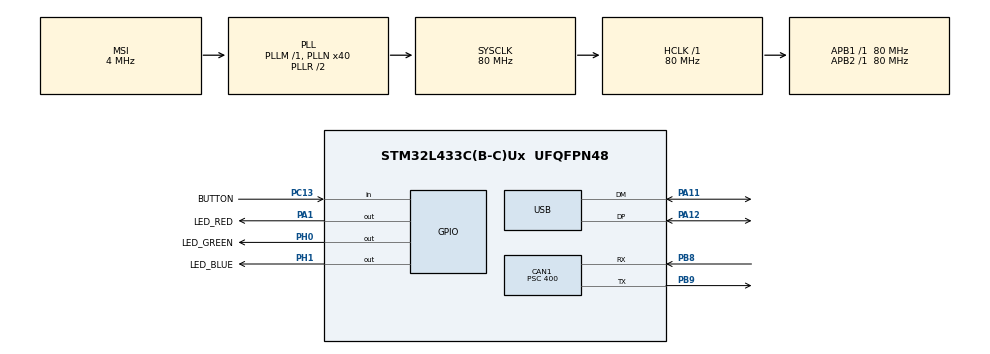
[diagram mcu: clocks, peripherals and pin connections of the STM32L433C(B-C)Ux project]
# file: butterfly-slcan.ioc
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CAN1.BS1=CAN_BS1_14TQ
CAN1.BS2=CAN_BS2_5TQ
CAN1.CalculateTimeQuantum=5000.0
CAN1.Prescaler=400
Mcu.Family=STM32L4
Mcu.Name=STM32L433C(B-C)Ux
Mcu.Package=UFQFPN48
NVIC.CAN1_RX0_IRQn=true\:0\:0\:false\:false\:true\:true\:true
NVIC.PriorityGroup=NVIC_PRIORITYGROUP_4
NVIC.USB_IRQn=true\:0\:0\:false\:false\:true\:false\:true
PA1.GPIO_Label=LED_RED
PA1.PinState=GPIO_PIN_SET
PA1.Signal=GPIO_Output
PA11.Mode=Device
PA11.Signal=USB_DM
PA12.Mode=Device
PA12.Signal=USB_DP
PA13\ (JTMS-SWDIO).Mode=Serial_Wire
PA13\ (JTMS-SWDIO).Signal=SYS_JTMS-SWDIO
PA14\ (JTCK-SWCLK).Mode=Serial_Wire
PA14\ (JTCK-SWCLK).Signal=SYS_JTCK-SWCLK
PB8.Mode=Master
PB8.Signal=CAN1_RX
PB9.Mode=Master
PB9.Signal=CAN1_TX
PC13.GPIO_Label=BUTTON
PC13.Signal=GPIO_Input
PC14-OSC32_IN\ (PC14).Mode=LSE-External-Oscillator
PC14-OSC32_IN\ (PC14).Signal=RCC_OSC32_IN
PC15-OSC32_OUT\ (PC15).Mode=LSE-External-Oscillator
PC15-OSC32_OUT\ (PC15).Signal=RCC_OSC32_OUT
PH0-OSC_IN\ (PH0).GPIO_Label=LED_GREEN
PH0-OSC_IN\ (PH0).PinState=GPIO_PIN_SET
PH0-OSC_IN\ (PH0).Signal=GPIO_Output
PH1-OSC_OUT\ (PH1).GPIO_Label=LED_BLUE
PH1-OSC_OUT\ (PH1).PinState=GPIO_PIN_SET
PH1-OSC_OUT\ (PH1).Signal=GPIO_Output
ProjectManager.HeapSize=0x200
ProjectManager.StackSize=0x400
ProjectManager.TargetToolchain=TrueSTUDIO
RCC.ADCFreq_Value=48000000
RCC.AHBFreq_Value=80000000
RCC.APB1Freq_Value=80000000
RCC.APB1TimFreq_Value=80000000
RCC.APB2Freq_Value=80000000
RCC.APB2TimFreq_Value=80000000
RCC.CortexFreq_Value=80000000
RCC.HCLKFreq_Value=80000000
RCC.HSE_VALUE=8000000
RCC.HSI48_VALUE=48000000
RCC.HSI_VALUE=16000000
RCC.MSIAutoCalibration=ENABLED
RCC.MSI_VALUE=4000000
RCC.PLLN=40
RCC.PLLSAI1N=24
RCC.RTCClockSelection=RCC_RTCCLKSOURCE_LSE
RCC.SYSCLKFreq_VALUE=80000000
RCC.SYSCLKSource=RCC_SYSCLKSOURCE_PLLCLK
RCC.USBFreq_Value=48000000
RCC.VCOOutputFreq_Value=160000000
USB_DEVICE.CLASS_NAME_FS=CDC
USB_DEVICE.VirtualMode=Cdc
USB_DEVICE.VirtualModeFS=Cdc_FS
VP_RCC_LSE.Mode=CRS SYNC Source LSE
VP_RTC_VS_RTC_Activate.Mode=RTC_Enabled
VP_USB_DEVICE_VS_USB_DEVICE_CDC_FS.Mode=CDC_FS
board=custom

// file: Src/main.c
/* USER CODE BEGIN Header */
/**
  ******************************************************************************
  * @file           : main.c
  * @brief          : Main program body
  ******************************************************************************
  * This notice applies to any and all portions of this file
  * that are not between comment pairs USER CODE BEGIN and
  * USER CODE END. Other portions of this file, whether
  * inserted by the user or by software development tools
  * are owned by their respective copyright owners.
  *
  * Copyright (c) 2019 STMicroelectronics International N.V.
  * All rights reserved.
  *
  * Redistribution and use in source and binary forms, with or without
  * modification, are permitted, provided that the following conditions are met:
  *
  * 1. Redistribution of source code must retain the above copyright notice,
  *    this list of conditions and the following disclaimer.
  * 2. Redistributions in binary form must reproduce the above copyright notice,
  *    this list of conditions and the following disclaimer in the documentation
  *    and/or other materials provided with the distribution.
  * 3. Neither the name of STMicroelectronics nor the names of other
  *    contributors to this software may be used to endorse or promote products
  *    derived from this software without specific written permission.
  * 4. This software, including modifications and/or derivative works of this
  *    software, must execute solely and exclusively on microcontroller or
  *    microprocessor devices manufactured by or for STMicroelectronics.
  * 5. Redistribution and use of this software other than as permitted under
  *    this license is void and will automatically terminate your rights under
  *    this license.
  *
  * THIS SOFTWARE IS PROVIDED BY STMICROELECTRONICS AND CONTRIBUTORS "AS IS"
  * AND ANY EXPRESS, IMPLIED OR STATUTORY WARRANTIES, INCLUDING, BUT NOT
  * LIMITED TO, THE IMPLIED WARRANTIES OF MERCHANTABILITY, FITNESS FOR A
  * PARTICULAR PURPOSE AND NON-INFRINGEMENT OF THIRD PARTY INTELLECTUAL PROPERTY
  * RIGHTS ARE DISCLAIMED TO THE FULLEST EXTENT PERMITTED BY LAW. IN NO EVENT
  * SHALL STMICROELECTRONICS OR CONTRIBUTORS BE LIABLE FOR ANY DIRECT, INDIRECT,
  * INCIDENTAL, SPECIAL, EXEMPLARY, OR CONSEQUENTIAL DAMAGES (INCLUDING, BUT NOT
  * LIMITED TO, PROCUREMENT OF SUBSTITUTE GOODS OR SERVICES; LOSS OF USE, DATA,
  * OR PROFITS; OR BUSINESS INTERRUPTION) HOWEVER CAUSED AND ON ANY THEORY OF
  * LIABILITY, WHETHER IN CONTRACT, STRICT LIABILITY, OR TORT (INCLUDING
  * NEGLIGENCE OR OTHERWISE) ARISING IN ANY WAY OUT OF THE USE OF THIS SOFTWARE,
  * EVEN IF ADVISED OF THE POSSIBILITY OF SUCH DAMAGE.
  *
  ******************************************************************************
  */
/* USER CODE END Header */

#include "main.h"
#include "usb_device.h"

/* USER CODE BEGIN Includes */
#include <stdbool.h>
#include "can_fifo.h"
#include "usbd_cdc_if.h"
/* USER CODE END Includes */

/* USER CODE BEGIN PD */
#define USB_RX_BUFFER 32
#define USB_TX_BUFFER 32

#define VERSION_RESPONSE "V06\r"
#define RESET_RESPONSE "Q\r"
#define OK_RESPONSE "Z\r"
#define BELL_RESPONSE "\a\r"
#define UART_EOL_TERMINATOR '\r'
/* USER CODE END PD */

CAN_HandleTypeDef hcan1;

RTC_HandleTypeDef hrtc;

/* USER CODE BEGIN PV */
CAN_FilterTypeDef sFilterConfig;
CAN_TxHeaderTypeDef TxHeader;
CAN_RxHeaderTypeDef RxHeader;
uint8_t TxData[8];
uint8_t RxData[8];
uint32_t TxMailbox;
st_can_message_fifo_t rxCanFifo;

// USB interface variable declarations
char aTxBuffer[USB_TX_BUFFER];
char aRxBuffer[1];
char aRxCmdBuffer[USB_RX_BUFFER];
uint8_t RxIndex = 0;
__IO ITStatus newCommand = RESET;
__IO ITStatus issueBellResponse = RESET;

/* USER CODE END PV */

void SystemClock_Config(void);
static void MX_GPIO_Init(void);
static void MX_CAN1_Init(void);
static void MX_RTC_Init(void);

/* USER CODE BEGIN PFP */
void process_incoming_usb(char* msgBuffer);
void process_incoming_can_message(void);

/* USER CODE END PFP */

int main(void)
{

  /* MCU Configuration--------------------------------------------------------*/

  /* Reset of all peripherals, Initializes the Flash interface and the Systick. */
  HAL_Init();

  /* Configure the system clock */
  SystemClock_Config();

  /* Initialize all configured peripherals */
  MX_GPIO_Init();
  MX_CAN1_Init();
  MX_RTC_Init();
  MX_USB_DEVICE_Init();
  /* USER CODE BEGIN 2 */

  // Specify filter to accept all messages
  sFilterConfig.FilterBank = 0;
  sFilterConfig.FilterMode = CAN_FILTERMODE_IDMASK;
  sFilterConfig.FilterScale = CAN_FILTERSCALE_32BIT;
  sFilterConfig.FilterIdHigh = 0x0000;
  sFilterConfig.FilterIdLow = 0x0000;
  sFilterConfig.FilterMaskIdHigh = 0x0000;
  sFilterConfig.FilterMaskIdLow = 0x0000;
  sFilterConfig.FilterFIFOAssignment = 0;
  sFilterConfig.FilterActivation = ENABLE;
  //sFilterConfig.BankNumber = 0;

  if (HAL_CAN_ConfigFilter(&hcan1, &sFilterConfig) != HAL_OK)
  {
	  Error_Handler();
  }

  if (HAL_CAN_Start(&hcan1) != HAL_OK)
  {
	  Error_Handler();
  }

  if (HAL_CAN_ActivateNotification(&hcan1, CAN_IT_RX_FIFO0_MSG_PENDING) != HAL_OK)
  {
	  Error_Handler();
  }

  /* USER CODE END 2 */

  /* Infinite loop */
  while (1)
  {

    /* USER CODE BEGIN 3 */
	  if(!can_fifo_empty(&rxCanFifo))
	  {
		  HAL_GPIO_WritePin(LED_GREEN_GPIO_Port, LED_GREEN_Pin, GPIO_PIN_RESET);
		  process_incoming_can_message();
		  //HAL_GPIO_TogglePin(LED_GREEN_GPIO_Port, LED_GREEN_Pin);
		  HAL_GPIO_WritePin(LED_GREEN_GPIO_Port, LED_GREEN_Pin, GPIO_PIN_SET);
	  }

	  if (newCommand == SET)
	  {
		  HAL_GPIO_WritePin(LED_BLUE_GPIO_Port, LED_BLUE_Pin, GPIO_PIN_RESET);
		  process_incoming_usb(aRxCmdBuffer);
		  HAL_GPIO_WritePin(LED_BLUE_GPIO_Port, LED_BLUE_Pin, GPIO_PIN_SET);
	  }

	  if (issueBellResponse == SET)
	  {
		  sprintf(aTxBuffer,BELL_RESPONSE);
		  CDC_Transmit_FS((uint8_t *)aTxBuffer, strlen(aTxBuffer));
		  issueBellResponse = RESET;
	  }

  }
  /* USER CODE END 3 */
}

void SystemClock_Config(void)
{
  RCC_OscInitTypeDef RCC_OscInitStruct = {0};
  RCC_ClkInitTypeDef RCC_ClkInitStruct = {0};
  RCC_PeriphCLKInitTypeDef PeriphClkInit = {0};
  RCC_CRSInitTypeDef RCC_CRSInitStruct = {0};

  /**Configure LSE Drive Capability
  */
  HAL_PWR_EnableBkUpAccess();
  __HAL_RCC_LSEDRIVE_CONFIG(RCC_LSEDRIVE_LOW);
  /**Initializes the CPU, AHB and APB busses clocks
  */
  RCC_OscInitStruct.OscillatorType = RCC_OSCILLATORTYPE_LSE|RCC_OSCILLATORTYPE_MSI;
  RCC_OscInitStruct.LSEState = RCC_LSE_ON;
  RCC_OscInitStruct.MSIState = RCC_MSI_ON;
  RCC_OscInitStruct.MSICalibrationValue = 0;
  RCC_OscInitStruct.MSIClockRange = RCC_MSIRANGE_6;
  RCC_OscInitStruct.PLL.PLLState = RCC_PLL_ON;
  RCC_OscInitStruct.PLL.PLLSource = RCC_PLLSOURCE_MSI;
  RCC_OscInitStruct.PLL.PLLM = 1;
  RCC_OscInitStruct.PLL.PLLN = 40;
  RCC_OscInitStruct.PLL.PLLP = RCC_PLLP_DIV7;
  RCC_OscInitStruct.PLL.PLLQ = RCC_PLLQ_DIV2;
  RCC_OscInitStruct.PLL.PLLR = RCC_PLLR_DIV2;
  if (HAL_RCC_OscConfig(&RCC_OscInitStruct) != HAL_OK)
  {
    Error_Handler();
  }
  /**Initializes the CPU, AHB and APB busses clocks
  */
  RCC_ClkInitStruct.ClockType = RCC_CLOCKTYPE_HCLK|RCC_CLOCKTYPE_SYSCLK
                              |RCC_CLOCKTYPE_PCLK1|RCC_CLOCKTYPE_PCLK2;
  RCC_ClkInitStruct.SYSCLKSource = RCC_SYSCLKSOURCE_PLLCLK;
  RCC_ClkInitStruct.AHBCLKDivider = RCC_SYSCLK_DIV1;
  RCC_ClkInitStruct.APB1CLKDivider = RCC_HCLK_DIV1;
  RCC_ClkInitStruct.APB2CLKDivider = RCC_HCLK_DIV1;

  if (HAL_RCC_ClockConfig(&RCC_ClkInitStruct, FLASH_LATENCY_4) != HAL_OK)
  {
    Error_Handler();
  }
  PeriphClkInit.PeriphClockSelection = RCC_PERIPHCLK_RTC|RCC_PERIPHCLK_USB;
  PeriphClkInit.RTCClockSelection = RCC_RTCCLKSOURCE_LSE;
  PeriphClkInit.UsbClockSelection = RCC_USBCLKSOURCE_PLLSAI1;
  PeriphClkInit.PLLSAI1.PLLSAI1Source = RCC_PLLSOURCE_MSI;
  PeriphClkInit.PLLSAI1.PLLSAI1M = 1;
  PeriphClkInit.PLLSAI1.PLLSAI1N = 24;
  PeriphClkInit.PLLSAI1.PLLSAI1P = RCC_PLLP_DIV7;
  PeriphClkInit.PLLSAI1.PLLSAI1Q = RCC_PLLQ_DIV2;
  PeriphClkInit.PLLSAI1.PLLSAI1R = RCC_PLLR_DIV2;
  PeriphClkInit.PLLSAI1.PLLSAI1ClockOut = RCC_PLLSAI1_48M2CLK;
  if (HAL_RCCEx_PeriphCLKConfig(&PeriphClkInit) != HAL_OK)
  {
    Error_Handler();
  }
  /**Configure the main internal regulator output voltage
  */
  if (HAL_PWREx_ControlVoltageScaling(PWR_REGULATOR_VOLTAGE_SCALE1) != HAL_OK)
  {
    Error_Handler();
  }
  /**Enable MSI Auto calibration
  */
  HAL_RCCEx_EnableMSIPLLMode();
  /**Enable the SYSCFG APB clock
  */
  __HAL_RCC_CRS_CLK_ENABLE();
  /**Configures CRS
  */
  RCC_CRSInitStruct.Prescaler = RCC_CRS_SYNC_DIV1;
  RCC_CRSInitStruct.Source = RCC_CRS_SYNC_SOURCE_LSE;
  RCC_CRSInitStruct.Polarity = RCC_CRS_SYNC_POLARITY_RISING;
  RCC_CRSInitStruct.ReloadValue = __HAL_RCC_CRS_RELOADVALUE_CALCULATE(48000000,32768);
  RCC_CRSInitStruct.ErrorLimitValue = 34;
  RCC_CRSInitStruct.HSI48CalibrationValue = 32;

  HAL_RCCEx_CRSConfig(&RCC_CRSInitStruct);
}

static void MX_CAN1_Init(void)
{

  hcan1.Instance = CAN1;
  hcan1.Init.Prescaler = 400;
  hcan1.Init.Mode = CAN_MODE_NORMAL;
  hcan1.Init.SyncJumpWidth = CAN_SJW_1TQ;
  hcan1.Init.TimeSeg1 = CAN_BS1_14TQ;
  hcan1.Init.TimeSeg2 = CAN_BS2_5TQ;
  hcan1.Init.TimeTriggeredMode = DISABLE;
  hcan1.Init.AutoBusOff = DISABLE;
  hcan1.Init.AutoWakeUp = DISABLE;
  hcan1.Init.AutoRetransmission = DISABLE;
  hcan1.Init.ReceiveFifoLocked = DISABLE;
  hcan1.Init.TransmitFifoPriority = DISABLE;
  if (HAL_CAN_Init(&hcan1) != HAL_OK)
  {
    Error_Handler();
  }

}

static void MX_RTC_Init(void)
{

  /**Initialize RTC Only
  */
  hrtc.Instance = RTC;
  hrtc.Init.HourFormat = RTC_HOURFORMAT_24;
  hrtc.Init.AsynchPrediv = 127;
  hrtc.Init.SynchPrediv = 255;
  hrtc.Init.OutPut = RTC_OUTPUT_DISABLE;
  hrtc.Init.OutPutRemap = RTC_OUTPUT_REMAP_NONE;
  hrtc.Init.OutPutPolarity = RTC_OUTPUT_POLARITY_HIGH;
  hrtc.Init.OutPutType = RTC_OUTPUT_TYPE_OPENDRAIN;
  if (HAL_RTC_Init(&hrtc) != HAL_OK)
  {
    Error_Handler();
  }

}

static void MX_GPIO_Init(void)
{
  GPIO_InitTypeDef GPIO_InitStruct = {0};

  /* GPIO Ports Clock Enable */
  __HAL_RCC_GPIOC_CLK_ENABLE();
  __HAL_RCC_GPIOH_CLK_ENABLE();
  __HAL_RCC_GPIOA_CLK_ENABLE();
  __HAL_RCC_GPIOB_CLK_ENABLE();

  /*Configure GPIO pin Output Level */
  HAL_GPIO_WritePin(GPIOH, LED_GREEN_Pin|LED_BLUE_Pin, GPIO_PIN_SET);

  /*Configure GPIO pin Output Level */
  HAL_GPIO_WritePin(LED_RED_GPIO_Port, LED_RED_Pin, GPIO_PIN_SET);

  /*Configure GPIO pin : BUTTON_Pin */
  GPIO_InitStruct.Pin = BUTTON_Pin;
  GPIO_InitStruct.Mode = GPIO_MODE_INPUT;
  GPIO_InitStruct.Pull = GPIO_NOPULL;
  HAL_GPIO_Init(BUTTON_GPIO_Port, &GPIO_InitStruct);

  /*Configure GPIO pins : LED_GREEN_Pin LED_BLUE_Pin */
  GPIO_InitStruct.Pin = LED_GREEN_Pin|LED_BLUE_Pin;
  GPIO_InitStruct.Mode = GPIO_MODE_OUTPUT_PP;
  GPIO_InitStruct.Pull = GPIO_NOPULL;
  GPIO_InitStruct.Speed = GPIO_SPEED_FREQ_LOW;
  HAL_GPIO_Init(GPIOH, &GPIO_InitStruct);

  /*Configure GPIO pin : LED_RED_Pin */
  GPIO_InitStruct.Pin = LED_RED_Pin;
  GPIO_InitStruct.Mode = GPIO_MODE_OUTPUT_PP;
  GPIO_InitStruct.Pull = GPIO_NOPULL;
  GPIO_InitStruct.Speed = GPIO_SPEED_FREQ_LOW;
  HAL_GPIO_Init(LED_RED_GPIO_Port, &GPIO_InitStruct);

}

/* USER CODE BEGIN 4 */
void HAL_CAN_txMailbox0CompleteCallback(CAN_HandleTypeDef *hcan)
{
}

void HAL_CAN_RxFifo0MsgPendingCallback(CAN_HandleTypeDef *hcan)
{
	HAL_CAN_GetRxMessage(hcan, CAN_RX_FIFO0, &RxHeader, RxData);

	// add message to rx fifo!
	if(can_fifo_enqueue(&rxCanFifo, &RxHeader, RxData)) {
		// indicate successful enqueue
		//HAL_GPIO_TogglePin(LED_GREEN_GPIO_Port, LED_GREEN_Pin);
	}
}

void parseInput(uint8_t ch) {

	if(newCommand == RESET)
	{
		if ((RxIndex > 0) && RxIndex < (USB_RX_BUFFER-1))
			aRxCmdBuffer[RxIndex++] = ch;
		else
			RxIndex = 0;

		switch(ch)
		{
			case 't':
			case 'T':
			case 'V':
			case 'Q':
				aRxCmdBuffer[0] = ch;
				RxIndex=1;
				break;

			case UART_EOL_TERMINATOR:
				newCommand = SET;
				RxIndex=0;
				break;

			default:
				break;

		}

	}
	else
	{
		if(ch == UART_EOL_TERMINATOR)
			issueBellResponse = SET;
	}
}

uint8_t CAN_Transmit(char *msg) {
	uint8_t index;

	if (msg[0] == 't') {
		// std id
		TxHeader.IDE = CAN_ID_STD;
		TxHeader.StdId =  (hex2int(*(msg+1)) << 8) | (hex2int(*(msg+2)) << 4) | (hex2int(*(msg+3)));
		// dlc
		TxHeader.DLC = hex2int(*(msg+4));

		index = 5;
	}
	else
	{
		// ext id
		TxHeader.IDE = CAN_ID_EXT;
		TxHeader.ExtId =  (hex2int(*(msg+1)) << 28) | (hex2int(*(msg+2)) << 24) | (hex2int(*(msg+3)) << 20) | (hex2int(*(msg+4)) << 16)
								| (hex2int(*(msg+5)) << 12) | (hex2int(*(msg+6)) << 8) | (hex2int(*(msg+7)) << 4) | (hex2int(*(msg+8)));
		// dlc
		TxHeader.DLC = hex2int(*(msg+9));

		index = 10;
	}

	// data
	for(int i=0; i < TxHeader.DLC; i++)
	{
		TxData[i] = (hex2int(*(msg+index)) << 4) | hex2int(*(msg+index+1));
		index += 2;
	}

	// send
	if (HAL_CAN_AddTxMessage(&hcan1,&TxHeader,TxData,&TxMailbox) != HAL_OK)
    {
      /* Transmission Error */
      Error_Handler();
      return(0);
    }
    return(1);
}

void process_incoming_usb(char* msgBuffer)
{
	bool command_accepted = false;

	switch(msgBuffer[0])
	{
		case 'T':
		case 't':
			if(CAN_Transmit(msgBuffer) == 1)
			{
				sprintf(aTxBuffer,OK_RESPONSE);
				command_accepted = true;
			}
			break;

		case 'V':
			sprintf(aTxBuffer,VERSION_RESPONSE);
			command_accepted = true;
			break;
		case 'Q':
			sprintf(aTxBuffer,OK_RESPONSE);
			// TODO: trap here until watchdog kicks in.
			command_accepted = true;
			break;
		default:
			break;
	}

	if (command_accepted)
     {
		CDC_Transmit_FS((uint8_t *)aTxBuffer, strlen(aTxBuffer));
     }
	else
	{
		sprintf(aTxBuffer,BELL_RESPONSE);
		CDC_Transmit_FS((uint8_t *)aTxBuffer, strlen(aTxBuffer));
	}

	newCommand = RESET;
}

void process_incoming_can_message(void) {
	char aTxBuffer[32];
	st_can_message_t *can_msg;
	uint8_t index;

	can_msg = can_fifo_peek(&rxCanFifo);

	if(can_msg->ide == CAN_ID_EXT) {
		sprintf(aTxBuffer,"T%08X%d", (unsigned int)can_msg->id,(int)can_msg->dlc);
		index = 10;
	} else
	{
		sprintf(aTxBuffer,"t%3X%d", (unsigned int)can_msg->id,(int)can_msg->dlc);
		index = 5;
	}

	for (int cpt=0;cpt<can_msg->dlc;cpt++)
	{
		sprintf(aTxBuffer+index,"%02X", (unsigned int)can_msg->data[cpt]);
		index += 2;
	}

	sprintf(aTxBuffer+index,"\r");
	CDC_Transmit_FS((uint8_t *)aTxBuffer, strlen(aTxBuffer));
    can_fifo_dequeue(&rxCanFifo);
}

/* USER CODE END 4 */

void Error_Handler(void)
{
}

/************************ (C) COPYRIGHT STMicroelectronics *****END OF FILE****/
